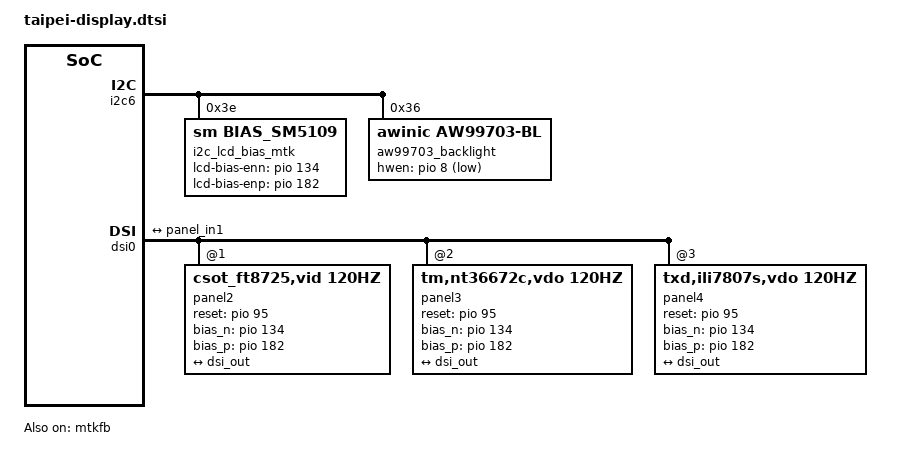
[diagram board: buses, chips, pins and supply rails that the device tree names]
/* Copyright (c) 2021, The Linux Foundation. All rights reserved.
 *
 * This program is free software; you can redistribute it and/or modify
 * it under the terms of the GNU General Public License version 2 and
 * only version 2 as published by the Free Software Foundation.
 *
 * This program is distributed in the hope that it will be useful,
 * but WITHOUT ANY WARRANTY; without even the implied warranty of
 * MERCHANTABILITY or FITNESS FOR A PARTICULAR PURPOSE.  See the
 * GNU General Public License for more details.
 */

&dispsys_config {
	force_dyn_mipi_change;
};

&i2c6 {
	id = <6>;

	i2c_lcd_bias_mtk:i2c_lcd_bias@3e {
		compatible = "sm,bias_sm5109";
		reg = <0x3e>;
		sm,lcd-bias-enn-gpio = <&pio 134 0>;
		sm,lcd-bias-enp-gpio = <&pio 182 0>;
		biasp_en_pin = <182>;
		biasn_en_pin = <134>;
		status = "okay";
	};

	aw99703_backlight: sprd_backlight@36{
		compatible = "awinic,aw99703-bl", "sm-sm5350","ktd,ktd3136";
		reg = <0x36>;
		id = <6>;
		lk_hwen-gpio = <8>;
		status = "okay";

		//sm5350
		pwm-cfg = <0x0F>;
		hwen-gpio = <&pio 8 1>;
		boost-ctl = <0x02>;
		ctl-bank-en = <0x02>;
		full-scale-current = <0x1C>; //27.4 mA
		map-mode = <0>; //0x16 : 0 exponential, 1 linear
		current-align-type = <0x01>;
		sm5350,default-brightness = <743>;
		sm5350,init-seq-enable = <1>;
		sm5350,init-seq = <0x1A 0x02>,
				<0x1C 0x0F>,
				<0x10 0x07>,
				<0x16 0x00>,
				<0x18 0x1C>,
				<0x23 0xd4>,
				<0x24 0x02>;

		aw99703,hwen-gpio = <&pio 8 1>;
		aw99703,bl-map = <3>; /* brightness map level 1:256,2:1024,3:2048 */
		aw99703,using-lsb;
		aw99703,ovp-level = <3>; /* 0:17.5V, 1:24V, 2:31V, 3:38V, 4:41.5V */
		aw99703,ocp-level = <2>; /* 0:0.9A, 1:1.8A, 2:2.7A, 3:3.4A */
		aw99703,switch-freq = <1>; /* 1000kHz(default) */
		aw99703,auto-freq-high = <0x10>;
		aw99703,auto-freq-low = <0x05>;
		aw99703,bl-fscal-led = <0x1C>; /* 27.2mA */
		aw99703,bl-channel = <3>;
		aw99703,turn-on-ramp = <0x00>; /* 512us */
		aw99703,turn-off-ramp = <0x04>; /* 8ms */
		aw99703,pwm-trans-dim = <0>; /* 2ms */
		aw99703,i2c-trans-dim = <1>; /* 128ms */
		aw99703,skip-first-trans;
		aw99703,reset-trans-delay;
		aw99703,pwm-mode = <1>; /* 1 pwm enable,0 PWM disable */
		aw99703,map-type = <0>; /* 0 exponential, 4 linear */
		aw99703,current-align-type = <0x01>;
		aw99703,work-mode = <1>; /* backlight */
		aw99703,default-brightness = <519>;
		aw99703,init-seq-enable = <1>;
		aw99703,init-seq = <0x02 0x00>,
				<0x03 0xE7>,
				<0x04 0x2E>,
				<0x09 0x00>,
				<0x05 0x50>,
				<0x06 0x02>,
				<0x07 0xC5>,
				<0x67 0x1C>,
				<0x25 0x61>,
				<0x24 0x4C>,
				<0x23 0x61>,
				<0x02 0x01>;

                ktd,hwen-gpio = <&pio 8 1>;
                ktd,using-lsb;
                ktd,pwm-frequency = <1>; /* 1MHZ */
                ktd,bl-fscal-led = <0xE1>; /* 27.4mA */
                ktd,turn-on-ramp = <0x00>;
                ktd,turn-off-ramp = <0x04>;
                ktd,pwm-trans-dim = <0>;
                ktd,i2c-trans-dim = <128>;
                ktd,skip-first-trans;
                ktd,reset-trans-delay;
                ktd,bl-channel = <3>;
                ktd,ovp-level = <32>;  /*25.9v or 32v */
                ktd,ocp-level = <2600>;
                ktd,switching-frequency = <1>;
                ktd,inductor-current = <1>;
                ktd,default-brightness = <519>;
                ktd,map-type = <0>; /* 0 exponential, 1 linear */
                ktd,current-align-type = <0x01>;
                ktd3136,init-seq-enable = <1>;
                ktd3136,init-seq = <0x02 0xE1>,
				<0x03 0x28>,
				<0x06 0x1F>,
				<0x04 0x02>,
				<0x05 0xC5>,
				<0x07 0x03>,
				<0x08 0x01>;

	};
};

&mtk_leds {

	compatible = "mediatek,i2c-leds";

	backlight {
		label = "lcd-backlight";
		led_mode = <6>;
		max-brightness = <2047>;
		max-hw-brightness = <2047>;
		default-brightness = <1578>;
	};
};

&pio {
	mtkfb_pins_lcd_bias_enp0: lcd_bias_enp0_gpio {
		pins_cmd_dat {
			pinmux = <PINMUX_GPIO182__FUNC_GPIO182>;
			slew-rate = <1>;
			output-high;
		};
	};

	mtkfb_pins_lcd_bias_enn0: lcd_bias_enn0_gpio {
		pins_cmd_dat {
			pinmux = <PINMUX_GPIO134__FUNC_GPIO134>;
			slew-rate = <1>;
			output-low;
		};
	};

	mtkfb_pins_lcm_rst_out1_gpio: lcm_rst_out1_gpio {
		pins_cmd_dat {
			pinmux = <PINMUX_GPIO95__FUNC_GPIO95>;
			slew-rate = <1>;
			output-high;
		};
	};

	mtkfb_pins_lcm_rst_out0_gpio: lcm_rst_out0_gpio {
		pins_cmd_dat {
			pinmux = <PINMUX_GPIO95__FUNC_GPIO95>;
			slew-rate = <1>;
			output-low;
		};
	};

	mtkfb_pins_lcm_dsi_te: lcm_dsi_te {
		pins_cmd_dat {
			pinmux = <PINMUX_GPIO94__FUNC_DSI_TE>;
		};
	};
};

&mtkfb {
	pinctrl-names = "lcd_bias_enp0_gpio", "lcd_bias_enn0_gpio",
		"lcm_rst_out1_gpio", "lcm_rst_out0_gpio",
		"mode_te_te";
	pinctrl-0 = <&mtkfb_pins_lcd_bias_enp0>;
	pinctrl-1 = <&mtkfb_pins_lcd_bias_enn0>;
	pinctrl-2 = <&mtkfb_pins_lcm_rst_out1_gpio>;
	pinctrl-3 = <&mtkfb_pins_lcm_rst_out0_gpio>;
	pinctrl-4 = <&mtkfb_pins_lcm_dsi_te>;
	status = "okay";
};

&dsi0 {
	status = "okay";
	#address-cells = <1>;
	#size-cells = <0>;
	//switch_fps = <120>;
	panel1@0 {
		compatible = "mot,dummy,vdo,60hz";
		reg = <0>;
		pinctrl-names = "default";
		port {
			panel_in1: endpoint {
				remote-endpoint = <&dsi_out>;
			};
		};

	};

	panel2@0 {
		compatible = "csot_ft8725,vid,120hz";
		reg = <1>;
		reset-gpios = <&pio 95 0>;
		bias_n-gpios = <&pio 134 0>;
		bias_p-gpios = <&pio 182 0>;
		pinctrl-names = "default";
		port {
			panel_in2: endpoint {
				remote-endpoint = <&dsi_out>;
			};
		};

	};

	panel3@0 {
                compatible = "tm,nt36672c,vdo,120hz";
                reg = <2>;
                reset-gpios = <&pio 95 0>;
                bias_n-gpios = <&pio 134 0>;
                bias_p-gpios = <&pio 182 0>;
                pinctrl-names = "default";
                port {
                        panel_in3: endpoint {
                                remote-endpoint = <&dsi_out>;
                        };
                };

        };

	panel4@0 {
                compatible = "txd,ili7807s,vdo,120hz";
                reg = <3>;
                reset-gpios = <&pio 95 0>;
                bias_n-gpios = <&pio 134 0>;
                bias_p-gpios = <&pio 182 0>;
                pinctrl-names = "default";
                port {
                        panel_in4: endpoint {
                                remote-endpoint = <&dsi_out>;
                        };
                };

        };

	ports {
		port {
			dsi_out: endpoint {
				remote-endpoint = <&panel_in1>;
			};
		};
	};
};
